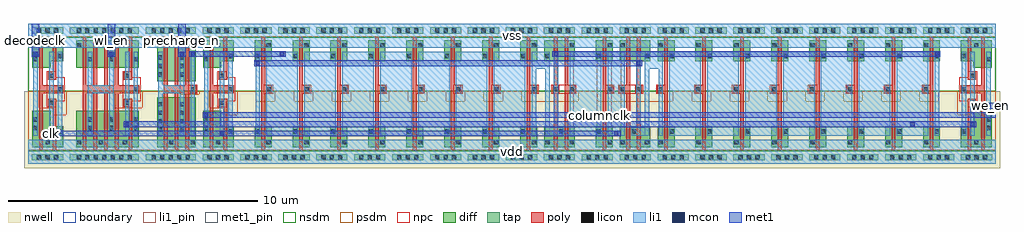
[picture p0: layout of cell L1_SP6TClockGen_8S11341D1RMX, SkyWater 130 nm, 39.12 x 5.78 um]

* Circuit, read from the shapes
.subckt L1_SP6TClockGen_8S11341D1RMX clk columnclk decodeclk precharge_n vdd vss we_en wl_en
XM1 vss n1 decodeclk vss sky130_fd_pr__nfet_01v8 w=1.1 l=0.15
XM2 n1 clk vss vss sky130_fd_pr__nfet_01v8 w=0.84 l=0.15
XM3 wl_en n2 vss vss sky130_fd_pr__nfet_01v8 w=1.1 l=0.15 m=4
XM4 n2 L1_SP6TNonOvlClock_8S11341D1RMX_1/firststage[7] vss vss sky130_fd_pr__nfet_01v8 w=1.1 l=0.15
XM5 vss L1_inv_x3_2/i precharge_n vss sky130_fd_pr__nfet_01v8 w=1.64 l=0.15 m=3
XM6 vss n3 columnclk vss sky130_fd_pr__nfet_01v8 w=1.1 l=0.15
XM7 n3 clk vss vss sky130_fd_pr__nfet_01v8 w=0.84 l=0.15
XM8 vss L1_inv_x3_2/i L1_SP6TNonOvlClock_8S11341D1RMX_1/secondstage[8] vss sky130_fd_pr__nfet_01v8 w=0.84 l=0.15
XM9 vss L1_SP6TNonOvlClock_8S11341D1RMX_1/secondstage[6] L1_inv_x3_2/i vss sky130_fd_pr__nfet_01v8 w=0.84 l=0.15
XM10 vss L1_SP6TNonOvlClock_8S11341D1RMX_1/secondstage[5] L1_SP6TNonOvlClock_8S11341D1RMX_1/secondstage[6] vss sky130_fd_pr__nfet_01v8 w=0.84 l=0.15
XM11 vss L1_SP6TNonOvlClock_8S11341D1RMX_1/secondstage[4] L1_SP6TNonOvlClock_8S11341D1RMX_1/secondstage[5] vss sky130_fd_pr__nfet_01v8 w=0.84 l=0.15
XM12 vss L1_SP6TNonOvlClock_8S11341D1RMX_1/secondstage[3] L1_SP6TNonOvlClock_8S11341D1RMX_1/secondstage[4] vss sky130_fd_pr__nfet_01v8 w=0.84 l=0.15
XM13 vss L1_SP6TNonOvlClock_8S11341D1RMX_1/secondstage[2] L1_SP6TNonOvlClock_8S11341D1RMX_1/secondstage[3] vss sky130_fd_pr__nfet_01v8 w=0.84 l=0.15
XM14 vss L1_SP6TNonOvlClock_8S11341D1RMX_1/secondstage[1] L1_SP6TNonOvlClock_8S11341D1RMX_1/secondstage[2] vss sky130_fd_pr__nfet_01v8 w=0.84 l=0.15
XM15 vss L1_SP6TNonOvlClock_8S11341D1RMX_1/secondstage[0] L1_SP6TNonOvlClock_8S11341D1RMX_1/secondstage[1] vss sky130_fd_pr__nfet_01v8 w=0.84 l=0.15
XM16 n4 L1_SP6TNonOvlClock_8S11341D1RMX_1/firststage[8] L1_SP6TNonOvlClock_8S11341D1RMX_1/secondstage[0] vss sky130_fd_pr__nfet_01v8 w=0.84 l=0.15
XM17 vss L1_SP6TNonOvlClock_8S11341D1RMX_1/L1_nand2_x0_8/i0 n4 vss sky130_fd_pr__nfet_01v8 w=0.84 l=0.15
XM18 vss clk L1_SP6TNonOvlClock_8S11341D1RMX_1/L1_nand2_x0_8/i0 vss sky130_fd_pr__nfet_01v8 w=0.84 l=0.15
XM19 n5 clk vss vss sky130_fd_pr__nfet_01v8 w=0.84 l=0.15
XM20 L1_SP6TNonOvlClock_8S11341D1RMX_1/firststage[0] L1_SP6TNonOvlClock_8S11341D1RMX_1/secondstage[8] n5 vss sky130_fd_pr__nfet_01v8 w=0.84 l=0.15
XM21 L1_SP6TNonOvlClock_8S11341D1RMX_1/firststage[1] L1_SP6TNonOvlClock_8S11341D1RMX_1/firststage[0] vss vss sky130_fd_pr__nfet_01v8 w=0.84 l=0.15
XM22 L1_SP6TNonOvlClock_8S11341D1RMX_1/firststage[2] L1_SP6TNonOvlClock_8S11341D1RMX_1/firststage[1] vss vss sky130_fd_pr__nfet_01v8 w=0.84 l=0.15
XM23 L1_SP6TNonOvlClock_8S11341D1RMX_1/firststage[3] L1_SP6TNonOvlClock_8S11341D1RMX_1/firststage[2] vss vss sky130_fd_pr__nfet_01v8 w=0.84 l=0.15
XM24 L1_SP6TNonOvlClock_8S11341D1RMX_1/firststage[4] L1_SP6TNonOvlClock_8S11341D1RMX_1/firststage[3] vss vss sky130_fd_pr__nfet_01v8 w=0.84 l=0.15
XM25 L1_SP6TNonOvlClock_8S11341D1RMX_1/firststage[5] L1_SP6TNonOvlClock_8S11341D1RMX_1/firststage[4] vss vss sky130_fd_pr__nfet_01v8 w=0.84 l=0.15
XM26 L1_SP6TNonOvlClock_8S11341D1RMX_1/firststage[6] L1_SP6TNonOvlClock_8S11341D1RMX_1/firststage[5] vss vss sky130_fd_pr__nfet_01v8 w=0.84 l=0.15
XM27 L1_SP6TNonOvlClock_8S11341D1RMX_1/firststage[7] L1_SP6TNonOvlClock_8S11341D1RMX_1/firststage[6] vss vss sky130_fd_pr__nfet_01v8 w=0.84 l=0.15
XM28 L1_SP6TNonOvlClock_8S11341D1RMX_1/firststage[8] L1_SP6TNonOvlClock_8S11341D1RMX_1/firststage[7] vss vss sky130_fd_pr__nfet_01v8 w=0.84 l=0.15
XM29 vss L1_SP6TNonOvlClock_8S11341D1RMX_1/firststage[7] n6 vss sky130_fd_pr__nfet_01v8 w=0.84 l=0.15
XM30 we_en n6 vss vss sky130_fd_pr__nfet_01v8 w=1.1 l=0.15
XM31 vdd n1 decodeclk vdd sky130_fd_pr__pfet_01v8 w=1.46 l=0.15
XM32 n1 clk vdd vdd sky130_fd_pr__pfet_01v8 w=0.84 l=0.15
XM33 wl_en n2 vdd vdd sky130_fd_pr__pfet_01v8 w=1.46 l=0.15 m=4
XM34 n2 L1_SP6TNonOvlClock_8S11341D1RMX_1/firststage[7] vdd vdd sky130_fd_pr__pfet_01v8 w=1.46 l=0.15
XM35 vdd L1_inv_x3_2/i precharge_n vdd sky130_fd_pr__pfet_01v8 w=2 l=0.15 m=3
XM36 vdd n3 columnclk vdd sky130_fd_pr__pfet_01v8 w=1.46 l=0.15
XM37 n3 clk vdd vdd sky130_fd_pr__pfet_01v8 w=0.84 l=0.15
XM38 vdd L1_inv_x3_2/i L1_SP6TNonOvlClock_8S11341D1RMX_1/secondstage[8] vdd sky130_fd_pr__pfet_01v8 w=0.84 l=0.15
XM39 vdd L1_SP6TNonOvlClock_8S11341D1RMX_1/secondstage[6] L1_inv_x3_2/i vdd sky130_fd_pr__pfet_01v8 w=0.84 l=0.15
XM40 vdd L1_SP6TNonOvlClock_8S11341D1RMX_1/secondstage[5] L1_SP6TNonOvlClock_8S11341D1RMX_1/secondstage[6] vdd sky130_fd_pr__pfet_01v8 w=0.84 l=0.15
XM41 vdd L1_SP6TNonOvlClock_8S11341D1RMX_1/secondstage[4] L1_SP6TNonOvlClock_8S11341D1RMX_1/secondstage[5] vdd sky130_fd_pr__pfet_01v8 w=0.84 l=0.15
XM42 vdd L1_SP6TNonOvlClock_8S11341D1RMX_1/secondstage[3] L1_SP6TNonOvlClock_8S11341D1RMX_1/secondstage[4] vdd sky130_fd_pr__pfet_01v8 w=0.84 l=0.15
XM43 vdd L1_SP6TNonOvlClock_8S11341D1RMX_1/secondstage[2] L1_SP6TNonOvlClock_8S11341D1RMX_1/secondstage[3] vdd sky130_fd_pr__pfet_01v8 w=0.84 l=0.15
XM44 vdd L1_SP6TNonOvlClock_8S11341D1RMX_1/secondstage[1] L1_SP6TNonOvlClock_8S11341D1RMX_1/secondstage[2] vdd sky130_fd_pr__pfet_01v8 w=0.84 l=0.15
XM45 vdd L1_SP6TNonOvlClock_8S11341D1RMX_1/secondstage[0] L1_SP6TNonOvlClock_8S11341D1RMX_1/secondstage[1] vdd sky130_fd_pr__pfet_01v8 w=0.84 l=0.15
XM46 L1_SP6TNonOvlClock_8S11341D1RMX_1/secondstage[0] L1_SP6TNonOvlClock_8S11341D1RMX_1/firststage[8] vdd vdd sky130_fd_pr__pfet_01v8 w=0.84 l=0.15
XM47 vdd L1_SP6TNonOvlClock_8S11341D1RMX_1/L1_nand2_x0_8/i0 L1_SP6TNonOvlClock_8S11341D1RMX_1/secondstage[0] vdd sky130_fd_pr__pfet_01v8 w=0.84 l=0.15
XM48 vdd clk L1_SP6TNonOvlClock_8S11341D1RMX_1/L1_nand2_x0_8/i0 vdd sky130_fd_pr__pfet_01v8 w=0.84 l=0.15
XM49 L1_SP6TNonOvlClock_8S11341D1RMX_1/firststage[0] clk vdd vdd sky130_fd_pr__pfet_01v8 w=0.84 l=0.15
XM50 vdd L1_SP6TNonOvlClock_8S11341D1RMX_1/secondstage[8] L1_SP6TNonOvlClock_8S11341D1RMX_1/firststage[0] vdd sky130_fd_pr__pfet_01v8 w=0.84 l=0.15
XM51 L1_SP6TNonOvlClock_8S11341D1RMX_1/firststage[1] L1_SP6TNonOvlClock_8S11341D1RMX_1/firststage[0] vdd vdd sky130_fd_pr__pfet_01v8 w=0.84 l=0.15
XM52 L1_SP6TNonOvlClock_8S11341D1RMX_1/firststage[2] L1_SP6TNonOvlClock_8S11341D1RMX_1/firststage[1] vdd vdd sky130_fd_pr__pfet_01v8 w=0.84 l=0.15
XM53 L1_SP6TNonOvlClock_8S11341D1RMX_1/firststage[3] L1_SP6TNonOvlClock_8S11341D1RMX_1/firststage[2] vdd vdd sky130_fd_pr__pfet_01v8 w=0.84 l=0.15
XM54 L1_SP6TNonOvlClock_8S11341D1RMX_1/firststage[4] L1_SP6TNonOvlClock_8S11341D1RMX_1/firststage[3] vdd vdd sky130_fd_pr__pfet_01v8 w=0.84 l=0.15
XM55 L1_SP6TNonOvlClock_8S11341D1RMX_1/firststage[5] L1_SP6TNonOvlClock_8S11341D1RMX_1/firststage[4] vdd vdd sky130_fd_pr__pfet_01v8 w=0.84 l=0.15
XM56 L1_SP6TNonOvlClock_8S11341D1RMX_1/firststage[6] L1_SP6TNonOvlClock_8S11341D1RMX_1/firststage[5] vdd vdd sky130_fd_pr__pfet_01v8 w=0.84 l=0.15
XM57 L1_SP6TNonOvlClock_8S11341D1RMX_1/firststage[7] L1_SP6TNonOvlClock_8S11341D1RMX_1/firststage[6] vdd vdd sky130_fd_pr__pfet_01v8 w=0.84 l=0.15
XM58 L1_SP6TNonOvlClock_8S11341D1RMX_1/firststage[8] L1_SP6TNonOvlClock_8S11341D1RMX_1/firststage[7] vdd vdd sky130_fd_pr__pfet_01v8 w=0.84 l=0.15
XM59 vdd L1_SP6TNonOvlClock_8S11341D1RMX_1/firststage[7] n6 vdd sky130_fd_pr__pfet_01v8 w=0.84 l=0.15
XM60 we_en n6 vdd vdd sky130_fd_pr__pfet_01v8 w=1.46 l=0.15
.ends

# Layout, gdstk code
from math import pi, radians
import gdstk
lib = gdstk.Library(unit=1e-6, precision=1e-09)
def R(c, l, rs):  # rectangles x0, y0, x1, y1
    for r in rs: c.add(gdstk.rectangle(r[:2], r[2:], *l))
def A(c, l, x, y, w, h, nx, ny, dx, dy):  # array of equal rectangles
    R(c, l, [(x+i*dx, y+j*dy, x+i*dx+w, y+j*dy+h) for i in range(nx) for j in range(ny)])
def P(c, l, *ps):  # polygons
    for p in ps: c.add(gdstk.Polygon(p, *l))
nwell = (64, 20)
diff = (65, 20)
tap = (65, 44)
poly = (66, 20)
licon = (66, 44)
li1_pin = (67, 16)
li1 = (67, 20)
mcon = (67, 44)
met1_pin = (68, 16)
met1 = (68, 20)
nsdm = (93, 44)
psdm = (94, 20)
npc = (95, 20)
boundary = (235, 4)

l1_buf_x1 = lib.new_cell('L1_buf_x1')
R(l1_buf_x1, nwell, [(-0.18,2.7,1.7,5.78)])
P(l1_buf_x1, diff, [(0.625,3.48),(0.625,4.1),(0.135,4.1),(0.135,4.94),(1.36,4.94),(1.36,3.48)],
  [(0.135,0.66),(0.135,1.5),(0.625,1.5),(0.625,1.76),(1.36,1.76),(1.36,0.66)])
R(l1_buf_x1, tap, [(0.135,0.135,1.385,0.385), (0.135,5.215,1.385,5.465)])
P(l1_buf_x1, poly, [(0.4,0.53),(0.4,2.245),(0.735,2.245),(0.735,1.915),(0.55,1.915),(0.55,0.53)],
  [(0.4,2.995),(0.4,5.07),(0.55,5.07),(0.55,3.325),(0.735,3.325),(0.735,2.995)],
  [(0.945,0.53),(0.945,2.455),(0.125,2.455),(0.125,2.785),(0.945,2.785),(0.945,5.07),(1.095,5.07),(1.095,0.53)])
A(l1_buf_x1, licon, 0.335, 0.175, 0.17, 0.17, 3, 2, 0.34, 5.08)
R(l1_buf_x1, licon, [(0.665,0.78,0.835,0.95), (0.175,1.205,0.345,1.375), (1.15,1.335,1.32,1.505), (0.515,1.995,0.685,2.165), (0.175,2.535,0.345,2.705), (0.515,3.075,0.685,3.245), (1.15,3.745,1.32,3.915), (1.15,4.085,1.32,4.255), (0.175,4.225,0.345,4.395), (0.665,4.65,0.835,4.82)])
R(l1_buf_x1, li1_pin, [(0,0,1.52,0.95), (0.515,1.12,0.685,4.48), (1.15,1.12,1.32,4.48), (0,4.65,1.52,5.6)])
R(l1_buf_x1, li1, [(0,0,1.52,0.95), (0.175,1.12,0.345,4.48), (0.515,1.12,0.685,4.48), (1.15,1.12,1.32,4.48), (0,4.65,1.52,5.6)])
R(l1_buf_x1, nsdm, [(0,0.535,1.52,2.7), (0,5.09,1.52,5.6)])
R(l1_buf_x1, psdm, [(0,0,1.52,0.51)])
P(l1_buf_x1, psdm, [(1.085,2.7),(1.085,3.355),(0.5,3.355),(0.5,3.645),(0,3.645),(0,5.065),(1.52,5.065),(1.52,2.7)])
P(l1_buf_x1, npc, [(0.415,1.895),(0.415,2.13),(0.07,2.13),(0.07,3.11),(0.415,3.11),(0.415,3.345),(0.785,3.345),(0.785,3.11),(0.79,3.11),(0.79,2.13),(0.785,2.13),(0.785,1.895)])
l1_buf_x1.add(gdstk.Label('q', (1.235,2.8), layer=67, texttype=16))
l1_buf_x1.add(gdstk.Label('i', (0.6,2.8), layer=67, texttype=16))
l1_buf_x1.add(gdstk.Label('vss', (0.76,0.475), layer=67, texttype=16))
l1_buf_x1.add(gdstk.Label('vdd', (0.76,5.125), layer=67, texttype=16))

l1_inv_x0 = lib.new_cell('L1_inv_x0')
R(l1_inv_x0, nwell, [(-0.18,2.7,1.7,5.78)])
R(l1_inv_x0, diff, [(0.135,0.66,0.815,1.5), (0.135,4.1,0.815,4.94)])
R(l1_inv_x0, tap, [(0.135,0.135,1.385,0.385), (0.135,5.215,1.385,5.465)])
P(l1_inv_x0, poly, [(0.4,0.53),(0.4,2.455),(0.125,2.455),(0.125,2.785),(0.4,2.785),(0.4,5.07),(0.55,5.07),(0.55,0.53)])
A(l1_inv_x0, licon, 0.335, 0.175, 0.17, 0.17, 3, 2, 0.34, 5.08)
R(l1_inv_x0, licon, [(0.175,0.78,0.345,0.95), (0.605,1.205,0.775,1.375), (0.175,2.535,0.345,2.705), (0.605,4.225,0.775,4.395), (0.175,4.65,0.345,4.82)])
R(l1_inv_x0, li1_pin, [(0,0,1.52,0.95), (0.175,1.12,0.345,4.48), (0.605,1.12,0.775,4.48), (0,4.65,1.52,5.6)])
R(l1_inv_x0, li1, [(0,0,1.52,0.95), (0.175,1.12,0.345,4.48), (0.605,1.12,0.775,4.48), (0,4.65,1.52,5.6)])
R(l1_inv_x0, nsdm, [(0,0.535,1.52,2.7), (0,5.09,1.52,5.6)])
R(l1_inv_x0, psdm, [(0,0,1.52,0.51)])
P(l1_inv_x0, psdm, [(0.745,2.7),(0.745,3.105),(0,3.105),(0,5.065),(1.52,5.065),(1.52,2.7)])
R(l1_inv_x0, npc, [(0.075,2.435,0.445,2.805)])
l1_inv_x0.add(gdstk.Label('i', (0.26,2.8), layer=67, texttype=16))
l1_inv_x0.add(gdstk.Label('nq', (0.69,2.8), layer=67, texttype=16))
l1_inv_x0.add(gdstk.Label('vdd', (0.76,5.125), layer=67, texttype=16))
l1_inv_x0.add(gdstk.Label('vss', (0.76,0.475), layer=67, texttype=16))

l1_nand2_x0 = lib.new_cell('L1_nand2_x0')
R(l1_nand2_x0, nwell, [(-0.18,2.7,1.7,5.78)])
R(l1_nand2_x0, diff, [(0.135,0.66,1.36,1.5), (0.135,4.1,1.36,4.94)])
R(l1_nand2_x0, tap, [(0.135,0.135,1.385,0.385), (0.135,5.215,1.385,5.465)])
P(l1_nand2_x0, poly, [(0.83,0.53),(0.83,2.455),(0.76,2.455),(0.76,2.785),(0.83,2.785),(0.83,5.07),(0.98,5.07),(0.98,2.785),(1.03,2.785),(1.03,2.455),(0.98,2.455),(0.98,0.53)],
  [(0.4,0.53),(0.4,2.455),(0.125,2.455),(0.125,2.785),(0.4,2.785),(0.4,5.07),(0.55,5.07),(0.55,0.53)])
A(l1_nand2_x0, licon, 0.335, 0.175, 0.17, 0.17, 3, 2, 0.34, 5.08)
R(l1_nand2_x0, licon, [(0.175,0.78,0.345,0.95), (1.15,1.205,1.32,1.375), (0.175,2.535,0.345,2.705), (0.81,2.535,0.98,2.705), (0.605,4.225,0.775,4.395), (0.175,4.65,0.345,4.82), (1.15,4.65,1.32,4.82)])
R(l1_nand2_x0, li1_pin, [(0,0,1.52,0.95), (0.175,1.12,0.345,4.48), (0.81,1.12,0.98,3.975), (1.15,1.12,1.32,4.48), (0,4.65,1.52,5.6)])
R(l1_nand2_x0, li1, [(0,0,1.52,0.95), (0.175,1.12,0.345,4.48), (0.81,1.12,0.98,3.975), (0,4.65,1.52,5.6)])
P(l1_nand2_x0, li1, [(1.15,1.12),(1.15,4.145),(0.605,4.145),(0.605,4.48),(1.32,4.48),(1.32,1.12)])
R(l1_nand2_x0, nsdm, [(0,0.535,1.52,2.7), (0,5.09,1.52,5.6)])
R(l1_nand2_x0, psdm, [(0,0,1.52,0.51), (0,3.105,1.52,5.065)])
R(l1_nand2_x0, npc, [(0.075,2.435,1.08,2.805)])
l1_nand2_x0.add(gdstk.Label('nq', (1.235,2.8), layer=67, texttype=16))
l1_nand2_x0.add(gdstk.Label('i1', (0.895,2.548), layer=67, texttype=16))
l1_nand2_x0.add(gdstk.Label('i0', (0.26,2.8), layer=67, texttype=16))
l1_nand2_x0.add(gdstk.Label('vdd', (0.76,5.125), layer=67, texttype=16))
l1_nand2_x0.add(gdstk.Label('vss', (0.76,0.475), layer=67, texttype=16))

l1_sp6tnonovlclock_8s113 = lib.new_cell('L1_SP6TNonOvlClock_8S11341D1RMX')
A(l1_sp6tnonovlclock_8s113, li1_pin, 1.175, 1.12, 1.26, 3.36, 7, 1, 1.52, 0)
A(l1_sp6tnonovlclock_8s113, li1_pin, 17.325, 1.12, 1.26, 3.36, 7, 1, 1.52, 0)
R(l1_sp6tnonovlclock_8s113, li1_pin, [(0,0,28.88,0.95), (11.815,3.8,12.445,4.48), (16.435,3.8,17.065,4.48), (0,4.65,28.88,5.6)])
A(l1_sp6tnonovlclock_8s113, li1, 1.175, 1.12, 1.26, 3.36, 7, 1, 1.52, 0)
A(l1_sp6tnonovlclock_8s113, li1, 17.325, 1.12, 1.26, 3.36, 7, 1, 1.52, 0)
R(l1_sp6tnonovlclock_8s113, li1, [(0,0,28.88,0.95), (13.42,1.12,14.51,4.48), (14.94,1.12,15.46,4.48), (11.815,3.8,12.445,4.48), (16.435,3.8,17.065,4.48), (0.745,3.94,0.915,4.11), (16.01,3.94,16.18,4.11), (12.7,4.31,12.87,4.48), (27.965,4.31,28.135,4.48), (0,4.65,28.88,5.6)])
R(l1_sp6tnonovlclock_8s113, mcon, [(15.115,1.12,15.285,1.29), (0.745,3.94,0.915,4.11), (16.01,3.94,16.18,4.11), (12.7,4.31,12.87,4.48), (27.965,4.31,28.135,4.48)])
R(l1_sp6tnonovlclock_8s113, met1_pin, [(15.015,1.09,15.385,1.32), (0.685,3.91,16.24,4.14), (12.64,4.28,28.195,4.51)])
R(l1_sp6tnonovlclock_8s113, met1, [(15.015,1.09,15.385,1.32), (0.685,3.91,16.24,4.14), (12.64,4.28,28.195,4.51)])
R(l1_sp6tnonovlclock_8s113, boundary, [(0,0,28.88,5.6)])
l1_sp6tnonovlclock_8s113.add(gdstk.Reference(l1_inv_x0, (16.72,5.6), x_reflection=True))
l1_sp6tnonovlclock_8s113.add(gdstk.Reference(l1_inv_x0, (18.24,5.6), x_reflection=True))
l1_sp6tnonovlclock_8s113.add(gdstk.Reference(l1_inv_x0, (19.76,5.6), x_reflection=True))
l1_sp6tnonovlclock_8s113.add(gdstk.Reference(l1_inv_x0, (21.28,5.6), x_reflection=True))
l1_sp6tnonovlclock_8s113.add(gdstk.Reference(l1_inv_x0, (22.8,5.6), x_reflection=True))
l1_sp6tnonovlclock_8s113.add(gdstk.Reference(l1_inv_x0, (24.32,5.6), x_reflection=True))
l1_sp6tnonovlclock_8s113.add(gdstk.Reference(l1_inv_x0, (25.84,5.6), x_reflection=True))
l1_sp6tnonovlclock_8s113.add(gdstk.Reference(l1_inv_x0, (27.36,5.6), x_reflection=True))
l1_sp6tnonovlclock_8s113.add(gdstk.Reference(l1_nand2_x0, (13.68,5.6), rotation=pi))
l1_sp6tnonovlclock_8s113.add(gdstk.Reference(l1_nand2_x0, (15.2,5.6), x_reflection=True))
l1_sp6tnonovlclock_8s113.add(gdstk.Reference(l1_inv_x0, (1.52,5.6), rotation=pi))
l1_sp6tnonovlclock_8s113.add(gdstk.Reference(l1_inv_x0, (3.04,5.6), rotation=pi))
l1_sp6tnonovlclock_8s113.add(gdstk.Reference(l1_inv_x0, (4.56,5.6), rotation=pi))
l1_sp6tnonovlclock_8s113.add(gdstk.Reference(l1_inv_x0, (6.08,5.6), rotation=pi))
l1_sp6tnonovlclock_8s113.add(gdstk.Reference(l1_inv_x0, (7.6,5.6), rotation=pi))
l1_sp6tnonovlclock_8s113.add(gdstk.Reference(l1_inv_x0, (9.12,5.6), rotation=pi))
l1_sp6tnonovlclock_8s113.add(gdstk.Reference(l1_inv_x0, (10.64,5.6), rotation=pi))
l1_sp6tnonovlclock_8s113.add(gdstk.Reference(l1_inv_x0, (12.16,5.6), rotation=pi))
l1_sp6tnonovlclock_8s113.add(gdstk.Reference(l1_inv_x0, (15.2,5.6), rotation=pi))
l1_sp6tnonovlclock_8s113.add(gdstk.Label('secondstage[8]', (8.462,4.025), layer=68, texttype=16))
l1_sp6tnonovlclock_8s113.add(gdstk.Label('firststage[8]', (20.417,4.395), layer=68, texttype=16))
l1_sp6tnonovlclock_8s113.add(gdstk.Label('clk', (15.2,1.205), layer=68, texttype=16))
l1_sp6tnonovlclock_8s113.add(gdstk.Label('secondstage[7]', (1.805,2.8), layer=67, texttype=16))
l1_sp6tnonovlclock_8s113.add(gdstk.Label('firststage[6]', (25.555,2.8), layer=67, texttype=16))
l1_sp6tnonovlclock_8s113.add(gdstk.Label('secondstage[5]', (4.845,2.8), layer=67, texttype=16))
l1_sp6tnonovlclock_8s113.add(gdstk.Label('vdd', (14.44,0.475), layer=67, texttype=16))
l1_sp6tnonovlclock_8s113.add(gdstk.Label('firststage[3]', (20.995,2.8), layer=67, texttype=16))
l1_sp6tnonovlclock_8s113.add(gdstk.Label('vss', (14.44,5.125), layer=67, texttype=16))
l1_sp6tnonovlclock_8s113.add(gdstk.Label('firststage[5]', (24.035,2.8), layer=67, texttype=16))
l1_sp6tnonovlclock_8s113.add(gdstk.Label('secondstage[2]', (9.405,2.8), layer=67, texttype=16))
l1_sp6tnonovlclock_8s113.add(gdstk.Label('secondstage[0]', (12.13,4.14), layer=67, texttype=16))
l1_sp6tnonovlclock_8s113.add(gdstk.Label('secondstage[4]', (6.365,2.8), layer=67, texttype=16))
l1_sp6tnonovlclock_8s113.add(gdstk.Label('firststage[1]', (17.955,2.8), layer=67, texttype=16))
l1_sp6tnonovlclock_8s113.add(gdstk.Label('secondstage[1]', (10.925,2.8), layer=67, texttype=16))
l1_sp6tnonovlclock_8s113.add(gdstk.Label('firststage[0]', (16.75,4.14), layer=67, texttype=16))
l1_sp6tnonovlclock_8s113.add(gdstk.Label('firststage[2]', (19.475,2.8), layer=67, texttype=16))
l1_sp6tnonovlclock_8s113.add(gdstk.Label('firststage[7]', (27.075,2.8), layer=67, texttype=16))
l1_sp6tnonovlclock_8s113.add(gdstk.Label('secondstage[6]', (3.325,2.8), layer=67, texttype=16))
l1_sp6tnonovlclock_8s113.add(gdstk.Label('secondstage[3]', (7.885,2.8), layer=67, texttype=16))
l1_sp6tnonovlclock_8s113.add(gdstk.Label('firststage[4]', (22.515,2.8), layer=67, texttype=16))

l1_inv_x3 = lib.new_cell('L1_inv_x3')
R(l1_inv_x3, nwell, [(-0.18,2.7,2.46,5.78)])
R(l1_inv_x3, diff, [(0.135,0.66,1.675,2.3), (0.135,2.94,1.675,4.94)])
R(l1_inv_x3, tap, [(0.135,0.135,2.145,0.385), (0.135,5.215,2.145,5.465)])
P(l1_inv_x3, poly, [(0.4,0.53),(0.4,2.455),(0.125,2.455),(0.125,2.785),(0.4,2.785),(0.4,5.07),(0.55,5.07),(0.55,2.785),(0.83,2.785),(0.83,5.07),(0.98,5.07),(0.98,2.785),(1.26,2.785),(1.26,5.07),(1.41,5.07),(1.41,0.53),(1.26,0.53),(1.26,2.455),(0.98,2.455),(0.98,0.53),(0.83,0.53),(0.83,2.455),(0.55,2.455),(0.55,0.53)])
A(l1_inv_x3, licon, 0.375, 0.175, 0.17, 0.17, 5, 2, 0.34, 5.08)
A(l1_inv_x3, licon, 0.605, 1.265, 0.17, 0.17, 1, 3, 0, 0.34)
A(l1_inv_x3, licon, 1.465, 1.265, 0.17, 0.17, 1, 3, 0, 0.34)
A(l1_inv_x3, licon, 0.605, 3.135, 0.17, 0.17, 1, 4, 0, 0.34)
A(l1_inv_x3, licon, 1.465, 3.135, 0.17, 0.17, 1, 4, 0, 0.34)
R(l1_inv_x3, licon, [(0.175,0.78,0.345,0.95), (1.035,0.78,1.205,0.95), (0.175,2.535,0.345,2.705), (0.175,4.65,0.345,4.82), (1.035,4.65,1.205,4.82)])
R(l1_inv_x3, li1_pin, [(0,0,2.28,0.95), (0.175,1.12,0.345,4.48), (0.605,1.12,0.775,4.48), (0,4.65,2.28,5.6)])
R(l1_inv_x3, li1, [(0,0,2.28,0.95), (0.175,1.12,0.345,4.48), (0,4.65,2.28,5.6)])
P(l1_inv_x3, li1, [(0.605,1.12),(0.605,4.48),(0.775,4.48),(0.775,2.785),(1.465,2.785),(1.465,4.48),(1.635,4.48),(1.635,1.12),(1.465,1.12),(1.465,2.455),(0.775,2.455),(0.775,1.12)])
R(l1_inv_x3, nsdm, [(0,0.535,2.28,2.7), (0,5.09,2.28,5.6)])
R(l1_inv_x3, psdm, [(0,0,2.28,0.51)])
P(l1_inv_x3, psdm, [(0.745,2.7),(0.745,2.815),(0,2.815),(0,5.065),(2.28,5.065),(2.28,2.7)])
R(l1_inv_x3, npc, [(0.075,2.435,0.445,2.805)])
l1_inv_x3.add(gdstk.Label('i', (0.26,2.8), layer=67, texttype=16))
l1_inv_x3.add(gdstk.Label('nq', (0.69,2.8), layer=67, texttype=16))
l1_inv_x3.add(gdstk.Label('vdd', (1.14,5.125), layer=67, texttype=16))
l1_inv_x3.add(gdstk.Label('vss', (1.14,0.475), layer=67, texttype=16))

l1_buf_x4 = lib.new_cell('L1_buf_x4')
R(l1_buf_x4, nwell, [(-0.18,2.7,3.22,5.78)])
R(l1_buf_x4, diff, [(0.135,0.66,2.65,1.76), (0.135,3.48,2.65,4.94)])
R(l1_buf_x4, tap, [(0.135,0.135,2.905,0.385), (0.135,5.215,2.905,5.465)])
P(l1_buf_x4, poly, [(0.4,0.53),(0.4,2.245),(0.735,2.245),(0.735,1.915),(0.55,1.915),(0.55,0.53)],
  [(0.4,2.995),(0.4,5.07),(0.55,5.07),(0.55,3.325),(0.735,3.325),(0.735,2.995)],
  [(0.945,0.53),(0.945,2.455),(0.125,2.455),(0.125,2.785),(0.945,2.785),(0.945,5.07),(1.095,5.07),(1.095,2.785),(1.375,2.785),(1.375,5.07),(1.525,5.07),(1.525,2.785),(1.805,2.785),(1.805,5.07),(1.955,5.07),(1.955,2.785),(2.235,2.785),(2.235,5.07),(2.385,5.07),(2.385,0.53),(2.235,0.53),(2.235,2.455),(1.955,2.455),(1.955,0.53),(1.805,0.53),(1.805,2.455),(1.525,2.455),(1.525,0.53),(1.375,0.53),(1.375,2.455),(1.095,2.455),(1.095,0.53)])
A(l1_buf_x4, licon, 0.415, 0.175, 0.17, 0.17, 7, 2, 0.34, 5.08)
R(l1_buf_x4, licon, [(0.605,0.78,0.775,0.95), (1.58,0.78,1.75,0.95), (2.44,0.78,2.61,0.95), (0.175,1.335,0.345,1.505), (1.15,1.335,1.32,1.505), (2.01,1.335,2.18,1.505), (0.515,1.995,0.685,2.165), (0.175,2.535,0.345,2.705), (0.515,3.075,0.685,3.245), (0.175,3.745,0.345,3.915), (1.15,3.745,1.32,3.915), (2.01,3.745,2.18,3.915), (0.175,4.085,0.345,4.255), (1.15,4.085,1.32,4.255), (2.01,4.085,2.18,4.255), (0.605,4.65,0.775,4.82), (1.58,4.65,1.75,4.82), (2.44,4.65,2.61,4.82)])
R(l1_buf_x4, li1_pin, [(0,0,3.04,0.95), (0.515,1.12,0.685,4.48), (1.15,1.12,1.32,4.48), (0,4.65,3.04,5.6)])
R(l1_buf_x4, li1, [(0,0,3.04,0.95), (0.175,1.12,0.345,4.48), (0.515,1.12,0.685,4.48), (0,4.65,3.04,5.6)])
P(l1_buf_x4, li1, [(1.15,1.12),(1.15,4.48),(1.32,4.48),(1.32,2.785),(2.01,2.785),(2.01,4.48),(2.18,4.48),(2.18,1.12),(2.01,1.12),(2.01,2.455),(1.32,2.455),(1.32,1.12)])
R(l1_buf_x4, nsdm, [(0,0.535,3.04,2.7), (0,5.09,3.04,5.6)])
R(l1_buf_x4, psdm, [(0,0,3.04,0.51)])
P(l1_buf_x4, psdm, [(1.085,2.7),(1.085,3.355),(0,3.355),(0,5.065),(3.04,5.065),(3.04,2.7)])
P(l1_buf_x4, npc, [(0.415,1.895),(0.415,2.13),(0.07,2.13),(0.07,3.11),(0.415,3.11),(0.415,3.345),(0.785,3.345),(0.785,3.11),(0.79,3.11),(0.79,2.13),(0.785,2.13),(0.785,1.895)])
l1_buf_x4.add(gdstk.Label('q', (1.235,2.8), layer=67, texttype=16))
l1_buf_x4.add(gdstk.Label('i', (0.6,2.8), layer=67, texttype=16))
l1_buf_x4.add(gdstk.Label('vss', (1.52,0.475), layer=67, texttype=16))
l1_buf_x4.add(gdstk.Label('vdd', (1.52,5.125), layer=67, texttype=16))

l1_sp6tclockgen_8s11341d = lib.new_cell('L1_SP6TClockGen_8S11341D1RMX')
R(l1_sp6tclockgen_8s11341d, li1_pin, [(0,0,38.76,0.95), (0,4.65,38.76,5.6)])
R(l1_sp6tclockgen_8s11341d, li1, [(0,0,38.76,0.95), (0.835,1.12,1.005,1.29), (7.675,1.12,7.845,1.29), (3.875,1.49,4.045,1.66), (35.35,1.49,35.52,1.66), (37.755,1.49,37.925,1.66), (7.04,1.86,7.21,2.03), (38.39,2.23,38.56,2.4), (0.2,4.31,0.37,4.48), (3.24,4.31,3.41,4.48), (6.065,4.31,6.235,4.48), (6.495,4.31,6.665,4.48), (10.08,4.31,10.25,4.48), (0,4.65,38.76,5.6)])
R(l1_sp6tclockgen_8s11341d, mcon, [(0.835,1.12,1.005,1.29), (7.675,1.12,7.845,1.29), (3.875,1.49,4.045,1.66), (35.35,1.49,35.52,1.66), (37.755,1.49,37.925,1.66), (7.04,1.86,7.21,2.03), (38.39,2.23,38.56,2.4), (0.2,4.31,0.37,4.48), (3.24,4.31,3.41,4.48), (6.065,4.31,6.235,4.48), (6.495,4.31,6.665,4.48), (10.08,4.31,10.25,4.48)])
R(l1_sp6tclockgen_8s11341d, met1_pin, [(0.775,1.09,1.065,1.32), (6.98,1.83,38.76,2.06), (38.33,2.2,38.76,2.43), (0.14,4.28,0.43,5.6), (3.18,4.28,3.47,5.6), (6.005,4.28,6.295,5.6)])
R(l1_sp6tclockgen_8s11341d, met1, [(0.775,1.09,23.745,1.32), (3.815,1.46,37.985,1.69), (6.98,1.83,38.76,2.06), (38.33,2.2,38.76,2.43), (0.14,4.28,0.43,5.6), (3.18,4.28,3.47,5.6), (6.005,4.28,6.295,5.6), (6.435,4.28,10.31,4.51)])
R(l1_sp6tclockgen_8s11341d, boundary, [(0,0,38.76,5.6)])
l1_sp6tclockgen_8s11341d.add(gdstk.Reference(l1_buf_x1, (37.24,5.6), x_reflection=True))
l1_sp6tclockgen_8s11341d.add(gdstk.Reference(l1_sp6tnonovlclock_8s113, (8.36,0)))
l1_sp6tclockgen_8s11341d.add(gdstk.Reference(l1_inv_x3, (6.84,5.6), rotation=pi))
l1_sp6tclockgen_8s11341d.add(gdstk.Reference(l1_buf_x4, (4.56,5.6), rotation=pi))
l1_sp6tclockgen_8s11341d.add(gdstk.Reference(l1_buf_x1, (1.52,5.6), rotation=pi))
l1_sp6tclockgen_8s11341d.add(gdstk.Reference(l1_buf_x1, (8.36,5.6), rotation=pi))
l1_sp6tclockgen_8s11341d.add(gdstk.Label('we_en', (38.545,2.315), layer=68, texttype=16))
l1_sp6tclockgen_8s11341d.add(gdstk.Label('columnclk', (22.87,1.945), layer=68, texttype=16))
l1_sp6tclockgen_8s11341d.add(gdstk.Label('precharge_n', (6.15,4.94), layer=68, texttype=16))
l1_sp6tclockgen_8s11341d.add(gdstk.Label('wl_en', (3.325,4.94), layer=68, texttype=16))
l1_sp6tclockgen_8s11341d.add(gdstk.Label('decodeclk', (0.285,4.94), layer=68, texttype=16))
l1_sp6tclockgen_8s11341d.add(gdstk.Label('clk', (0.92,1.205), layer=68, texttype=16))
l1_sp6tclockgen_8s11341d.add(gdstk.Label('vdd', (19.38,0.475), layer=67, texttype=16))
l1_sp6tclockgen_8s11341d.add(gdstk.Label('vss', (19.38,5.125), layer=67, texttype=16))

lib.write_gds('L1_SP6TClockGen_8S11341D1RMX.gds')
